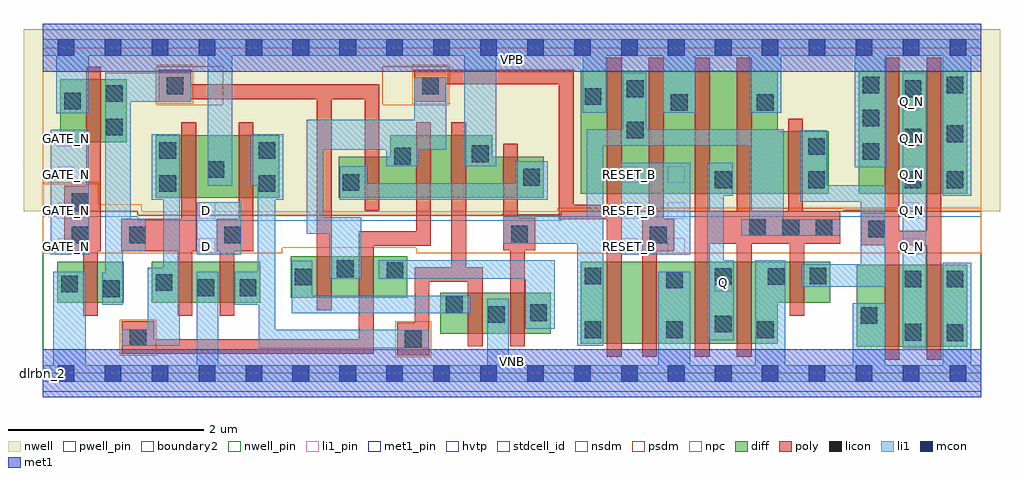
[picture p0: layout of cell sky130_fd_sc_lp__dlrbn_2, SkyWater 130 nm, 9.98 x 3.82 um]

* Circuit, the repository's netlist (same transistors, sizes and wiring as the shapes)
* Copyright 2020 The SkyWater PDK Authors
*
* Licensed under the Apache License, Version 2.0 (the "License");
* you may not use this file except in compliance with the License.
* You may obtain a copy of the License at
*
*     https://www.apache.org/licenses/LICENSE-2.0
*
* Unless required by applicable law or agreed to in writing, software
* distributed under the License is distributed on an "AS IS" BASIS,
* WITHOUT WARRANTIES OR CONDITIONS OF ANY KIND, either express or implied.
* See the License for the specific language governing permissions and
* limitations under the License.
*
* SPDX-License-Identifier: Apache-2.0

.SUBCKT sky130_fd_sc_lp__dlrbn_2 D GATE_N RESET_B VGND VNB VPB VPWR Q Q_N
*.PININFO D:I GATE_N:I RESET_B:I VGND:I VNB:I VPB:I VPWR:I Q:O Q_N:O
MI635 clkneg clkpos VPWR VPB sky130_fd_pr__pfet_01v8_hvt m=1 w=0.64U l=0.15U mult=1
+ sa=0.265 sb=0.265 sd=0.28 area=0.063 perim=1.14
MI648 Q_N net79 VPWR VPB sky130_fd_pr__pfet_01v8_hvt m=2 w=1.26U l=0.15U mult=1
+ sa=0.265 sb=0.265 sd=0.28 area=0.063 perim=1.14
MI17 M0 clkneg net51 VPB sky130_fd_pr__pfet_01v8_hvt m=1 w=0.64U l=0.15U mult=1
+ sa=0.265 sb=0.265 sd=0.28 area=0.063 perim=1.14
MI646 net79 m1 VPWR VPB sky130_fd_pr__pfet_01v8_hvt m=1 w=0.64U l=0.15U mult=1
+ sa=0.265 sb=0.265 sd=0.28 area=0.063 perim=1.14
MI650 Q m1 VPWR VPB sky130_fd_pr__pfet_01v8_hvt m=2 w=1.26U l=0.15U mult=1 sa=0.265
+ sb=0.265 sd=0.28 area=0.063 perim=1.14
MI633 clkpos GATE_N VPWR VPB sky130_fd_pr__pfet_01v8_hvt m=1 w=0.64U l=0.15U mult=1
+ sa=0.265 sb=0.265 sd=0.28 area=0.063 perim=1.14
MI658 m1 RESET_B VPWR VPB sky130_fd_pr__pfet_01v8_hvt m=1 w=1.26U l=0.15U mult=1
+ sa=0.265 sb=0.265 sd=0.28 area=0.063 perim=1.14
MI18 net51 db VPWR VPB sky130_fd_pr__pfet_01v8_hvt m=1 w=0.64U l=0.15U mult=1 sa=0.265
+ sb=0.265 sd=0.28 area=0.063 perim=1.14
MI653 net59 m1 VPWR VPB sky130_fd_pr__pfet_01v8_hvt m=1 w=0.42U l=0.15U mult=1
+ sa=0.265 sb=0.265 sd=0.28 area=0.063 perim=1.14
MI651 M0 clkpos net59 VPB sky130_fd_pr__pfet_01v8_hvt m=1 w=0.42U l=0.15U mult=1
+ sa=0.265 sb=0.265 sd=0.28 area=0.063 perim=1.14
MI655 m1 M0 VPWR VPB sky130_fd_pr__pfet_01v8_hvt m=1 w=1.26U l=0.15U mult=1 sa=0.265
+ sb=0.265 sd=0.28 area=0.063 perim=1.14
MI638 db D VPWR VPB sky130_fd_pr__pfet_01v8_hvt m=1 w=0.64U l=0.15U mult=1 sa=0.265
+ sb=0.265 sd=0.28 area=0.063 perim=1.14
MI634 clkpos GATE_N VGND VNB sky130_fd_pr__nfet_01v8 m=1 w=0.42U l=0.15U mult=1
+ sa=0.265 sb=0.265 sd=0.28 area=0.063 perim=1.14
MI647 Q_N net79 VGND VNB sky130_fd_pr__nfet_01v8 m=2 w=0.84U l=0.15U mult=1 sa=0.265
+ sb=0.265 sd=0.28 area=0.063 perim=1.14
MI649 Q m1 VGND VNB sky130_fd_pr__nfet_01v8 m=2 w=0.84U l=0.15U mult=1 sa=0.265
+ sb=0.265 sd=0.28 area=0.063 perim=1.14
MI645 net79 m1 VGND VNB sky130_fd_pr__nfet_01v8 m=1 w=0.42U l=0.15U mult=1 sa=0.265
+ sb=0.265 sd=0.28 area=0.063 perim=1.14
MI657 net86 RESET_B VGND VNB sky130_fd_pr__nfet_01v8 m=1 w=0.84U l=0.15U mult=1
+ sa=0.265 sb=0.265 sd=0.28 area=0.063 perim=1.14
MI652 M0 clkneg net102 VNB sky130_fd_pr__nfet_01v8 m=1 w=0.42U l=0.15U mult=1 sa=0.265
+ sb=0.265 sd=0.28 area=0.063 perim=1.14
MI654 net102 m1 VGND VNB sky130_fd_pr__nfet_01v8 m=1 w=0.42U l=0.15U mult=1 sa=0.265
+ sb=0.265 sd=0.28 area=0.063 perim=1.14
MI656 m1 M0 net86 VNB sky130_fd_pr__nfet_01v8 m=1 w=0.84U l=0.15U mult=1 sa=0.265
+ sb=0.265 sd=0.28 area=0.063 perim=1.14
MI636 clkneg clkpos VGND VNB sky130_fd_pr__nfet_01v8 m=1 w=0.42U l=0.15U mult=1
+ sa=0.265 sb=0.265 sd=0.28 area=0.063 perim=1.14
MI637 db D VGND VNB sky130_fd_pr__nfet_01v8 m=1 w=0.42U l=0.15U mult=1 sa=0.265
+ sb=0.265 sd=0.28 area=0.063 perim=1.14
MI19 M0 clkpos net98 VNB sky130_fd_pr__nfet_01v8 m=1 w=0.42U l=0.15U mult=1 sa=0.265
+ sb=0.265 sd=0.28 area=0.063 perim=1.14
MI20 net98 db VGND VNB sky130_fd_pr__nfet_01v8 m=1 w=0.42U l=0.15U mult=1 sa=0.265
+ sb=0.265 sd=0.28 area=0.063 perim=1.14
.ENDS sky130_fd_sc_lp__dlrbn_2

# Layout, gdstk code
import gdstk
lib = gdstk.Library(unit=1e-6, precision=1e-09)
def R(c, l, rs):  # rectangles x0, y0, x1, y1
    for r in rs: c.add(gdstk.rectangle(r[:2], r[2:], *l))
def A(c, l, x, y, w, h, nx, ny, dx, dy):  # array of equal rectangles
    R(c, l, [(x+i*dx, y+j*dy, x+i*dx+w, y+j*dy+h) for i in range(nx) for j in range(ny)])
def P(c, l, *ps):  # polygons
    for p in ps: c.add(gdstk.Polygon(p, *l))
nwell_pin = (64, 16)
nwell = (64, 20)
diff = (65, 20)
poly = (66, 20)
licon = (66, 44)
li1_pin = (67, 16)
li1 = (67, 20)
mcon = (67, 44)
met1_pin = (68, 16)
met1 = (68, 20)
hvtp = (78, 44)
stdcell_id = (81, 4)
nsdm = (93, 44)
psdm = (94, 20)
npc = (95, 20)
pwell_pin = (122, 16)
boundary2 = (236, 0)

sky130_fd_sc_lp__dlrbn_2 = lib.new_cell('sky130_fd_sc_lp__dlrbn_2')
R(sky130_fd_sc_lp__dlrbn_2, nwell_pin, [(0,3.085,9.6,3.33)])
P(sky130_fd_sc_lp__dlrbn_2, nwell, [(9.79,3.52),(-0.19,3.52),(-0.19,1.655),(0.975,1.655),(0.975,1.615),(5.305,1.615),(5.305,1.655),(9.79,1.655)])
R(sky130_fd_sc_lp__dlrbn_2, diff, [(8.325,0.27,9.455,1.11), (4.065,0.405,5.195,0.825), (0.15,0.72,0.83,1.14), (1.115,0.72,2.225,1.14), (2.54,0.775,3.73,1.195), (1.155,1.795,2.42,2.435), (8.345,1.835,9.455,3.095), (0.18,2.365,0.86,3.005)])
P(sky130_fd_sc_lp__dlrbn_2, diff, [(5.125,2.215),(4.6,2.215),(4.6,2.435),(3.555,2.435),(3.555,2.215),(3.03,2.215),(3.03,1.795),(5.125,1.795)],
  [(8.04,2.475),(7.515,2.475),(7.515,3.095),(5.505,3.095),(5.505,1.835),(8.04,1.835)],
  [(8.055,1.14),(5.505,1.14),(5.505,0.3),(7.515,0.3),(7.515,0.72),(8.055,0.72)])
P(sky130_fd_sc_lp__dlrbn_2, poly, [(0.595,3.135),(0.445,3.135),(0.445,1.92),(0.22,1.92),(0.22,1.25),(0.415,1.25),(0.415,0.59),(0.565,0.59),(0.565,1.25),(0.595,1.25)],
  [(1.57,2.565),(1.42,2.565),(1.42,1.58),(0.805,1.58),(0.805,1.25),(1.38,1.25),(1.38,0.59),(1.53,0.59),(1.53,1.25),(1.57,1.25)],
  [(9.19,3.225),(9.04,3.225),(9.04,1.46),(8.76,1.46),(8.76,3.225),(8.61,3.225),(8.61,1.64),(8.365,1.64),(8.365,1.31),(8.61,1.31),(8.61,0.14),(8.76,0.14),(8.76,1.31),(9.04,1.31),(9.04,0.14),(9.19,0.14)],
  [(2.155,2.565),(2.005,2.565),(2.005,1.58),(1.78,1.58),(1.78,1.25),(1.81,1.25),(1.81,0.59),(1.96,0.59),(1.96,1.25),(2.155,1.25)],
  [(3.445,2.955),(1.52,2.955),(1.52,3.105),(1.19,3.105),(1.19,2.775),(1.52,2.775),(1.52,2.805),(2.805,2.805),(2.805,0.645),(2.955,0.645),(2.955,2.805),(3.295,2.805),(3.295,1.665),(3.445,1.665)],
  [(3.97,2.565),(3.82,2.565),(3.82,1.455),(3.235,1.455),(3.235,0.35),(1.14,0.35),(1.14,0.53),(0.81,0.53),(0.81,0.2),(3.385,0.2),(3.385,1.305),(3.97,1.305)],
  [(4.5,1.085),(4.33,1.085),(4.33,2.565),(4.18,2.565),(4.18,1.085),(3.805,1.085),(3.805,0.515),(3.625,0.515),(3.625,0.185),(3.955,0.185),(3.955,0.935),(4.35,0.935),(4.35,0.275),(4.5,0.275)],
  [(5.04,1.59),(4.86,1.59),(4.86,2.345),(4.71,2.345),(4.71,1.26),(4.78,1.26),(4.78,0.275),(4.93,0.275),(4.93,1.26),(5.04,1.26)],
  [(5.92,3.225),(5.77,3.225),(5.77,1.725),(5.43,1.725),(5.43,3.105),(3.8,3.105),(3.8,2.775),(4.13,2.775),(4.13,2.955),(5.28,2.955),(5.28,1.575),(5.77,1.575),(5.77,0.17),(5.92,0.17)],
  [(6.46,1.58),(6.35,1.58),(6.35,3.225),(6.2,3.225),(6.2,1.58),(6.13,1.58),(6.13,0.17),(6.28,0.17),(6.28,1.25),(6.46,1.25)],
  [(8.155,1.655),(7.775,1.655),(7.775,2.605),(7.625,2.605),(7.625,1.655),(7.25,1.655),(7.25,3.225),(7.1,3.225),(7.1,1.655),(6.82,1.655),(6.82,3.225),(6.67,3.225),(6.67,0.17),(6.82,0.17),(6.82,1.325),(7.1,1.325),(7.1,0.17),(7.25,0.17),(7.25,1.325),(7.64,1.325),(7.64,0.59),(7.79,0.59),(7.79,1.325),(8.155,1.325)])
A(sky130_fd_sc_lp__dlrbn_2, licon, 7.225, 1.405, 0.17, 0.17, 3, 1, 0.34, 0)
A(sky130_fd_sc_lp__dlrbn_2, licon, 8.385, 2.185, 0.17, 0.17, 1, 3, 0, 0.34)
R(sky130_fd_sc_lp__dlrbn_2, licon, [(3.705,0.265,3.875,0.435), (0.89,0.28,1.06,0.45), (9.245,0.33,9.415,0.5), (8.815,0.335,8.985,0.505), (5.545,0.36,5.715,0.53), (6.375,0.36,6.545,0.53), (7.305,0.36,7.475,0.53), (6.875,0.42,7.045,0.59), (8.365,0.505,8.535,0.675), (4.555,0.515,4.725,0.685), (4.985,0.535,5.155,0.705), (4.125,0.615,4.295,0.785), (0.62,0.78,0.79,0.95), (1.585,0.79,1.755,0.96), (2.015,0.79,2.185,0.96), (0.19,0.83,0.36,1), (1.155,0.845,1.325,1.015), (6.375,0.87,6.545,1.04), (8.815,0.88,8.985,1.05), (9.245,0.88,9.415,1.05), (2.58,0.9,2.75,1.07), (6.875,0.905,7.045,1.075), (7.415,0.905,7.585,1.075), (5.545,0.91,5.715,1.08), (7.845,0.91,8.015,1.08), (3.52,0.965,3.69,1.135), (3.01,0.985,3.18,1.155), (0.3,1.33,0.47,1.5), (0.885,1.33,1.055,1.5), (1.86,1.33,2.03,1.5), (6.21,1.33,6.38,1.5), (4.79,1.34,4.96,1.51), (8.445,1.39,8.615,1.56), (0.3,1.67,0.47,1.84), (1.195,1.855,1.365,2.025), (2.21,1.855,2.38,2.025), (3.07,1.865,3.24,2.035), (6.875,1.895,7.045,2.065), (7.83,1.895,8,2.065), (8.815,1.895,8.985,2.065), (9.245,1.895,9.415,2.065), (4.915,1.92,5.085,2.09), (1.69,2,1.86,2.17), (3.595,2.135,3.765,2.305), (4.39,2.16,4.56,2.33), (1.195,2.195,1.365,2.365), (2.21,2.195,2.38,2.365), (7.83,2.235,8,2.405), (8.815,2.33,8.985,2.5), (9.245,2.365,9.415,2.535), (5.975,2.405,6.145,2.575), (0.65,2.435,0.82,2.605), (6.425,2.685,6.595,2.855), (7.305,2.685,7.475,2.855), (0.22,2.7,0.39,2.87), (5.545,2.745,5.715,2.915), (0.65,2.775,0.82,2.945), (5.975,2.825,6.145,2.995), (8.815,2.825,8.985,2.995), (1.27,2.855,1.44,3.025), (3.88,2.855,4.05,3.025), (9.245,2.865,9.415,3.035)])
A(sky130_fd_sc_lp__dlrbn_2, li1_pin, 0.155, 1.21, 0.17, 0.17, 1, 4, 0, 0.37)
A(sky130_fd_sc_lp__dlrbn_2, li1_pin, 5.915, 1.21, 0.17, 0.17, 1, 3, 0, 0.37)
A(sky130_fd_sc_lp__dlrbn_2, li1_pin, 6.395, 1.21, 0.17, 0.17, 1, 3, 0, 0.37)
A(sky130_fd_sc_lp__dlrbn_2, li1_pin, 8.795, 1.21, 0.17, 0.17, 1, 5, 0, 0.37)
R(sky130_fd_sc_lp__dlrbn_2, li1_pin, [(6.875,0.84,7.045,1.01), (1.595,1.21,1.765,1.38), (1.595,1.58,1.765,1.75)])
R(sky130_fd_sc_lp__dlrbn_2, li1, [(8.795,0.255,9.035,3.075), (0.085,1.21,0.47,2.49), (1.575,1.21,2.03,1.75), (5.915,1.21,6.625,2.155)])
P(sky130_fd_sc_lp__dlrbn_2, li1, [(8.155,1.575),(7.58,1.575),(7.58,2.495),(6.175,2.495),(6.175,3.075),(5.935,3.075),(5.935,2.495),(5.565,2.495),(5.565,1.605),(4.71,1.605),(4.71,1.325),(5.465,1.325),(5.465,0.28),(5.735,0.28),(5.735,2.325),(7.225,2.325),(7.225,1.575),(7.145,1.575),(7.145,1.405),(8.155,1.405)],
  [(8.615,1.925),(8.02,1.925),(8.02,2.485),(7.75,2.485),(7.75,1.755),(8.365,1.755),(8.365,1.115),(7.765,1.115),(7.765,0.885),(8.615,0.885)],
  [(5.235,1.155),(3.44,1.155),(3.44,0.965),(4.935,0.965),(4.935,0.455),(5.235,0.455)],
  [(1.405,2.445),(1.115,2.445),(1.115,1.775),(1.235,1.775),(1.235,1.08),(1.075,1.08),(1.075,0.45),(0.81,0.45),(0.81,0.28),(1.405,0.28)],
  [(1.52,3.075),(0.64,3.075),(0.64,1.03),(0.61,1.03),(0.61,0.7),(0.82,0.7),(0.82,1.25),(1.055,1.25),(1.055,1.58),(0.9,1.58),(0.9,2.775),(1.52,2.775)],
  [(7.065,1.155),(6.965,1.155),(6.965,1.815),(7.055,1.815),(7.055,2.155),(6.795,2.155),(6.795,0.34),(7.065,0.34)],
  [(3.955,0.445),(2.38,0.445),(2.38,1.775),(2.46,1.775),(2.46,2.445),(2.13,2.445),(2.13,1.92),(2.2,1.92),(2.2,1.04),(1.965,1.04),(1.965,0.7),(2.21,0.7),(2.21,0.255),(3.955,0.255)],
  [(4.13,3.025),(3.8,3.025),(3.8,2.595),(2.7,2.595),(2.7,1.425),(2.93,1.425),(2.93,0.965),(3.26,0.965),(3.26,1.595),(2.87,1.595),(2.87,2.285),(3.515,2.285),(3.515,2.115),(3.845,2.115),(3.845,2.285),(4.13,2.285)],
  [(4.375,0.795),(2.76,0.795),(2.76,1.15),(2.55,1.15),(2.55,0.615),(4.375,0.615)],
  [(5.165,2.17),(4.835,2.17),(4.835,1.945),(3.32,1.945),(3.32,2.115),(3.04,2.115),(3.04,1.775),(5.165,1.775)],
  [(9.6,3.415),(0,3.415),(0,3.245),(0.14,3.245),(0.14,2.66),(0.47,2.66),(0.47,3.245),(1.69,3.245),(1.69,1.92),(1.94,1.92),(1.94,3.245),(4.31,3.245),(4.31,2.115),(4.64,2.115),(4.64,3.245),(5.525,3.245),(5.525,2.665),(5.765,2.665),(5.765,3.245),(6.345,3.245),(6.345,2.665),(6.675,2.665),(6.675,3.245),(7.225,3.245),(7.225,2.665),(7.555,2.665),(7.555,3.245),(8.305,3.245),(8.305,2.105),(8.625,2.105),(8.625,3.245),(9.205,3.245),(9.205,1.815),(9.495,1.815),(9.495,3.245),(9.6,3.245)],
  [(9.6,0.085),(9.495,0.085),(9.495,1.13),(9.205,1.13),(9.205,0.085),(8.615,0.085),(8.615,0.715),(8.285,0.715),(8.285,0.085),(7.595,0.085),(7.595,1.155),(7.285,1.155),(7.285,0.085),(6.625,0.085),(6.625,1.04),(6.295,1.04),(6.295,0.085),(4.765,0.085),(4.765,0.765),(4.545,0.765),(4.545,0.085),(1.795,0.085),(1.795,1.04),(1.575,1.04),(1.575,0.085),(0.44,0.085),(0.44,1.04),(0.11,1.04),(0.11,0.085),(0,0.085),(0,-0.085),(9.6,-0.085)])
A(sky130_fd_sc_lp__dlrbn_2, mcon, 0.155, -0.085, 0.17, 0.17, 20, 2, 0.48, 3.33)
R(sky130_fd_sc_lp__dlrbn_2, met1_pin, [(0,0,9.6,0.245), (0,3.085,9.6,3.33)])
R(sky130_fd_sc_lp__dlrbn_2, met1, [(0,-0.245,9.6,0.245), (0,3.085,9.6,3.575)])
P(sky130_fd_sc_lp__dlrbn_2, hvtp, [(9.6,3.33),(0,3.33),(0,1.6),(0.975,1.6),(0.975,1.56),(5.305,1.56),(5.305,1.6),(9.6,1.6)])
R(sky130_fd_sc_lp__dlrbn_2, stdcell_id, [(0,0,9.6,3.33)])
P(sky130_fd_sc_lp__dlrbn_2, nsdm, [(9.6,1.655),(5.305,1.655),(5.305,1.615),(0.975,1.615),(0.975,1.655),(0,1.655),(0,-0.19),(9.6,-0.19)])
P(sky130_fd_sc_lp__dlrbn_2, psdm, [(9.6,3.52),(4.16,3.52),(4.16,2.745),(3.48,2.745),(3.48,3.135),(4.16,3.135),(4.16,3.52),(1.84,3.52),(1.84,2.745),(1.16,2.745),(1.16,3.135),(1.84,3.135),(1.84,3.52),(0,3.52),(0,1.95),(0.58,1.95),(0.58,1.655),(0.975,1.655),(0.975,1.615),(4.68,1.615),(4.68,1.62),(5.305,1.62),(5.305,1.655),(7.115,1.655),(7.115,1.685),(8.185,1.685),(8.185,1.67),(8.725,1.67),(8.725,1.655),(9.6,1.655)])
R(sky130_fd_sc_lp__dlrbn_2, npc, [(3.605,0.165,3.975,0.535), (0.79,0.18,1.16,0.55), (1.17,2.755,1.54,3.155), (3.78,2.755,4.15,3.155)])
P(sky130_fd_sc_lp__dlrbn_2, npc, [(9.6,1.695),(5.265,1.695),(5.265,1.655),(1.015,1.655),(1.015,1.73),(0.57,1.73),(0.57,1.94),(0,1.94),(0,1.23),(2.45,1.23),(2.45,1.285),(3.82,1.285),(3.82,1.23),(9.6,1.23)])
R(sky130_fd_sc_lp__dlrbn_2, pwell_pin, [(0,0,9.6,0.245)])
R(sky130_fd_sc_lp__dlrbn_2, boundary2, [(0,0,9.6,3.33)])
sky130_fd_sc_lp__dlrbn_2.add(gdstk.Label('VNB', (4.8,0.123), layer=64, texttype=59))
sky130_fd_sc_lp__dlrbn_2.add(gdstk.Label('VPB', (4.8,3.208), layer=64, texttype=5))
sky130_fd_sc_lp__dlrbn_2.add(gdstk.Label('dlrbn_2', (0,0), layer=83, texttype=44))
sky130_fd_sc_lp__dlrbn_2.add(gdstk.Label('VPWR', (4.8,3.208), layer=68, texttype=5))
sky130_fd_sc_lp__dlrbn_2.add(gdstk.Label('VGND', (4.8,0.123), layer=68, texttype=5))
sky130_fd_sc_lp__dlrbn_2.add(gdstk.Label('Q', (6.96,0.925), layer=67, texttype=5))
sky130_fd_sc_lp__dlrbn_2.add(gdstk.Label('Q_N', (8.88,1.295), layer=67, texttype=5))
sky130_fd_sc_lp__dlrbn_2.add(gdstk.Label('Q_N', (8.88,1.665), layer=67, texttype=5))
sky130_fd_sc_lp__dlrbn_2.add(gdstk.Label('Q_N', (8.88,2.035), layer=67, texttype=5))
sky130_fd_sc_lp__dlrbn_2.add(gdstk.Label('Q_N', (8.88,2.405), layer=67, texttype=5))
sky130_fd_sc_lp__dlrbn_2.add(gdstk.Label('Q_N', (8.88,2.775), layer=67, texttype=5))
sky130_fd_sc_lp__dlrbn_2.add(gdstk.Label('D', (1.68,1.295), layer=67, texttype=5))
sky130_fd_sc_lp__dlrbn_2.add(gdstk.Label('D', (1.68,1.665), layer=67, texttype=5))
sky130_fd_sc_lp__dlrbn_2.add(gdstk.Label('RESET_B', (6,1.295), layer=67, texttype=5))
sky130_fd_sc_lp__dlrbn_2.add(gdstk.Label('RESET_B', (6,1.665), layer=67, texttype=5))
sky130_fd_sc_lp__dlrbn_2.add(gdstk.Label('RESET_B', (6,2.035), layer=67, texttype=5))
sky130_fd_sc_lp__dlrbn_2.add(gdstk.Label('RESET_B', (6.48,1.295), layer=67, texttype=5))
sky130_fd_sc_lp__dlrbn_2.add(gdstk.Label('RESET_B', (6.48,1.665), layer=67, texttype=5))
sky130_fd_sc_lp__dlrbn_2.add(gdstk.Label('RESET_B', (6.48,2.035), layer=67, texttype=5))
sky130_fd_sc_lp__dlrbn_2.add(gdstk.Label('GATE_N', (0.24,1.295), layer=67, texttype=5))
sky130_fd_sc_lp__dlrbn_2.add(gdstk.Label('GATE_N', (0.24,1.665), layer=67, texttype=5))
sky130_fd_sc_lp__dlrbn_2.add(gdstk.Label('GATE_N', (0.24,2.035), layer=67, texttype=5))
sky130_fd_sc_lp__dlrbn_2.add(gdstk.Label('GATE_N', (0.24,2.405), layer=67, texttype=5))

lib.write_gds('sky130_fd_sc_lp__dlrbn_2.gds')
